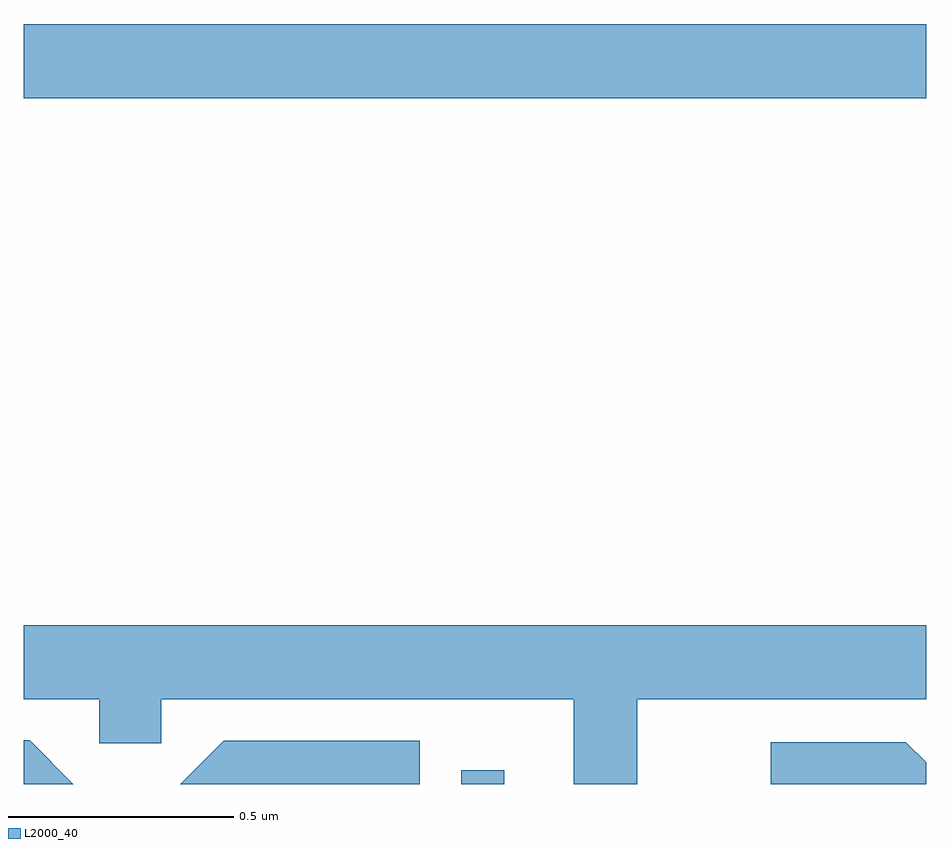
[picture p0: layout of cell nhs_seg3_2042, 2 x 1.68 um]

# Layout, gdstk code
import gdstk
lib = gdstk.Library(unit=1e-6, precision=1e-09)
def R(c, l, rs):  # rectangles x0, y0, x1, y1
    for r in rs: c.add(gdstk.rectangle(r[:2], r[2:], *l))
def P(c, l, *ps):  # polygons
    for p in ps: c.add(gdstk.Polygon(p, *l))
L2000_40 = (2000, 40)

nhs_seg3_2042 = lib.new_cell('nhs_seg3_2042')
R(nhs_seg3_2042, L2000_40, [(136.969,695.4,137.065,695.431), (136,696.92,138,697.084)])
P(nhs_seg3_2042, L2000_40, [(137.359,695.588),(138,695.588),(138,695.752),(136,695.752),(136,695.588),(136.167,695.588),(136.167,695.49),(136.305,695.49),(136.305,695.588),(137.219,695.588),(137.219,695.4),(137.359,695.4)],
  [(136.013,695.497),(136,695.497),(136,695.4),(136.11,695.4)],
  [(136.878,695.496),(136.443,695.496),(136.347,695.4),(136.878,695.4)],
  [(138,695.448),(137.955,695.493),(137.655,695.493),(137.655,695.4),(138,695.4)])

lib.write_gds('nhs_seg3_2042.gds')
